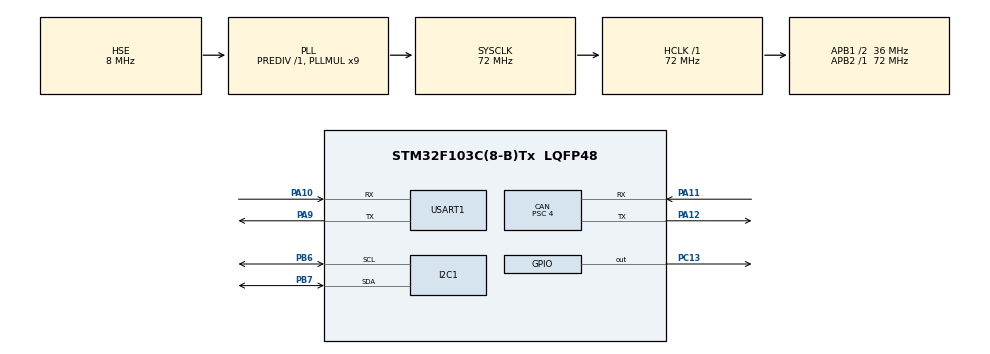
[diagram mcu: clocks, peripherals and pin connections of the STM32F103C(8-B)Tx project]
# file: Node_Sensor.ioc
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CAN.BS1=CAN_BS1_15TQ
CAN.BS2=CAN_BS2_2TQ
CAN.CalculateBaudRate=500000
CAN.CalculateTimeBit=2000
CAN.CalculateTimeQuantum=111.11111111111111
CAN.Mode=CAN_MODE_NORMAL
CAN.Prescaler=4
CAN.SJW=CAN_SJW_1TQ
Mcu.Family=STM32F1
Mcu.Name=STM32F103C(8-B)Tx
Mcu.Package=LQFP48
NVIC.PriorityGroup=NVIC_PRIORITYGROUP_4
NVIC.USB_LP_CAN1_RX0_IRQn=true\:0\:0\:false\:false\:true\:true\:true\:true
PA10.Mode=Asynchronous
PA10.Signal=USART1_RX
PA11.Mode=CAN_Activate
PA11.Signal=CAN_RX
PA12.Mode=CAN_Activate
PA12.Signal=CAN_TX
PA13.Mode=Serial_Wire
PA13.Signal=SYS_JTMS-SWDIO
PA14.Mode=Serial_Wire
PA14.Signal=SYS_JTCK-SWCLK
PA9.Mode=Asynchronous
PA9.Signal=USART1_TX
PB6.Mode=I2C
PB6.Signal=I2C1_SCL
PB7.Mode=I2C
PB7.Signal=I2C1_SDA
PC13-TAMPER-RTC.Signal=GPIO_Output
PC14-OSC32_IN.Mode=LSE-External-Oscillator
PC14-OSC32_IN.Signal=RCC_OSC32_IN
PC15-OSC32_OUT.Mode=LSE-External-Oscillator
PC15-OSC32_OUT.Signal=RCC_OSC32_OUT
PD0-OSC_IN.Mode=HSE-External-Oscillator
PD0-OSC_IN.Signal=RCC_OSC_IN
PD1-OSC_OUT.Mode=HSE-External-Oscillator
PD1-OSC_OUT.Signal=RCC_OSC_OUT
ProjectManager.HeapSize=0x200
ProjectManager.StackSize=0x400
ProjectManager.TargetToolchain=MDK-ARM V5.32
RCC.AHBFreq_Value=72000000
RCC.APB1CLKDivider=RCC_HCLK_DIV2
RCC.APB1Freq_Value=36000000
RCC.APB1TimFreq_Value=72000000
RCC.APB2Freq_Value=72000000
RCC.APB2TimFreq_Value=72000000
RCC.HCLKFreq_Value=72000000
RCC.PLLMUL=RCC_PLL_MUL9
RCC.PLLSourceVirtual=RCC_PLLSOURCE_HSE
RCC.SYSCLKFreq_VALUE=72000000
RCC.SYSCLKSource=RCC_SYSCLKSOURCE_PLLCLK
RCC.USBFreq_Value=72000000
USART1.VirtualMode=VM_ASYNC
board=custom

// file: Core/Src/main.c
/* USER CODE BEGIN Header */
/**
  ******************************************************************************
  * @file           : main.c
  * @brief          : Main program body
  ******************************************************************************
  * @attention
  *
  * Copyright (c) 2026 STMicroelectronics.
  * All rights reserved.
  *
  * This software is licensed under terms that can be found in the LICENSE file
  * in the root directory of this software component.
  * If no LICENSE file comes with this software, it is provided AS-IS.
  *
  ******************************************************************************
  */
/* USER CODE END Header */
#include "main.h"
#include "can.h"
#include "i2c.h"
#include "usart.h"
#include "gpio.h"

/* USER CODE BEGIN Includes */
#include <stdio.h>
/* USER CODE END Includes */

/* USER CODE BEGIN PV */
CAN_TxHeaderTypeDef TxHeader;
uint32_t TxMailbox;
uint8_t TxData[4];
CAN_RxHeaderTypeDef RxHeader; // <--- 加上这个
uint8_t RxData[8];            // <--- 加上这个
/* USER CODE END PV */

void SystemClock_Config(void);

/* USER CODE BEGIN 0 */
int fputc(int ch, FILE *f)
{
    HAL_UART_Transmit(&huart1, (uint8_t *)&ch, 1, 0xFFFF);
    return ch;
}
/* USER CODE END 0 */

int main(void)
{

  /* MCU Configuration--------------------------------------------------------*/

  /* Reset of all peripherals, Initializes the Flash interface and the Systick. */
  HAL_Init();

  /* Configure the system clock */
  SystemClock_Config();

  /* Initialize all configured peripherals */
  MX_GPIO_Init();
  MX_CAN_Init();
  MX_I2C1_Init();
  MX_USART1_UART_Init();
  /* USER CODE BEGIN 2 */
  // 配置过滤器
  CAN_FilterTypeDef sFilterConfig;
  sFilterConfig.FilterBank = 0;
  sFilterConfig.FilterMode = CAN_FILTERMODE_IDMASK;
  sFilterConfig.FilterScale = CAN_FILTERSCALE_32BIT;
  sFilterConfig.FilterIdHigh = 0x0000;
  sFilterConfig.FilterIdLow = 0x0000;
  sFilterConfig.FilterMaskIdHigh = 0x0000;
  sFilterConfig.FilterMaskIdLow = 0x0000;
  sFilterConfig.FilterFIFOAssignment = CAN_RX_FIFO0;
  sFilterConfig.FilterActivation = ENABLE;
  sFilterConfig.SlaveStartFilterBank = 14;
  HAL_CAN_ConfigFilter(&hcan, &sFilterConfig);

  HAL_CAN_Start(&hcan);

  // 配置发送帧头（ID 为 0x301，代表传感器）
  TxHeader.StdId = 0x301;
  TxHeader.ExtId = 0;
  TxHeader.IDE = CAN_ID_STD;
  TxHeader.RTR = CAN_RTR_DATA;
  TxHeader.DLC = 4; // 发送4个字节
  TxHeader.TransmitGlobalTime = DISABLE;
  /* USER CODE END 2 */

  /* Infinite loop */
  while (1)
  {

    /* USER CODE BEGIN 3 */
		int16_t fake_x = 1234;
    int16_t fake_y = -567;
    TxData[0] = (fake_x >> 8) & 0xFF;
    TxData[1] = fake_x & 0xFF;
    TxData[2] = (fake_y >> 8) & 0xFF;
    TxData[3] = fake_y & 0xFF;

    HAL_StatusTypeDef status = HAL_ERROR;
    if (HAL_CAN_GetTxMailboxesFreeLevel(&hcan) > 0)
    {
        status = HAL_CAN_AddTxMessage(&hcan, &TxHeader, TxData, &TxMailbox);
    }

    // ⚠️ 加上这行代码！只要发送成功，就翻转灯
    if (status == HAL_OK) {
        HAL_GPIO_TogglePin(GPIOC, GPIO_PIN_13);
    }

    HAL_Delay(200);
  }
  /* USER CODE END 3 */
}

void SystemClock_Config(void)
{
  RCC_OscInitTypeDef RCC_OscInitStruct = {0};
  RCC_ClkInitTypeDef RCC_ClkInitStruct = {0};

  /** Initializes the RCC Oscillators according to the specified parameters
  * in the RCC_OscInitTypeDef structure.
  */
  RCC_OscInitStruct.OscillatorType = RCC_OSCILLATORTYPE_HSE;
  RCC_OscInitStruct.HSEState = RCC_HSE_ON;
  RCC_OscInitStruct.HSEPredivValue = RCC_HSE_PREDIV_DIV1;
  RCC_OscInitStruct.HSIState = RCC_HSI_ON;
  RCC_OscInitStruct.PLL.PLLState = RCC_PLL_ON;
  RCC_OscInitStruct.PLL.PLLSource = RCC_PLLSOURCE_HSE;
  RCC_OscInitStruct.PLL.PLLMUL = RCC_PLL_MUL9;
  if (HAL_RCC_OscConfig(&RCC_OscInitStruct) != HAL_OK)
  {
    Error_Handler();
  }

  /** Initializes the CPU, AHB and APB buses clocks
  */
  RCC_ClkInitStruct.ClockType = RCC_CLOCKTYPE_HCLK|RCC_CLOCKTYPE_SYSCLK
                              |RCC_CLOCKTYPE_PCLK1|RCC_CLOCKTYPE_PCLK2;
  RCC_ClkInitStruct.SYSCLKSource = RCC_SYSCLKSOURCE_PLLCLK;
  RCC_ClkInitStruct.AHBCLKDivider = RCC_SYSCLK_DIV1;
  RCC_ClkInitStruct.APB1CLKDivider = RCC_HCLK_DIV2;
  RCC_ClkInitStruct.APB2CLKDivider = RCC_HCLK_DIV1;

  if (HAL_RCC_ClockConfig(&RCC_ClkInitStruct, FLASH_LATENCY_2) != HAL_OK)
  {
    Error_Handler();
  }
}

void Error_Handler(void)
{
  __disable_irq();
  while (1)
  {
  }
}
